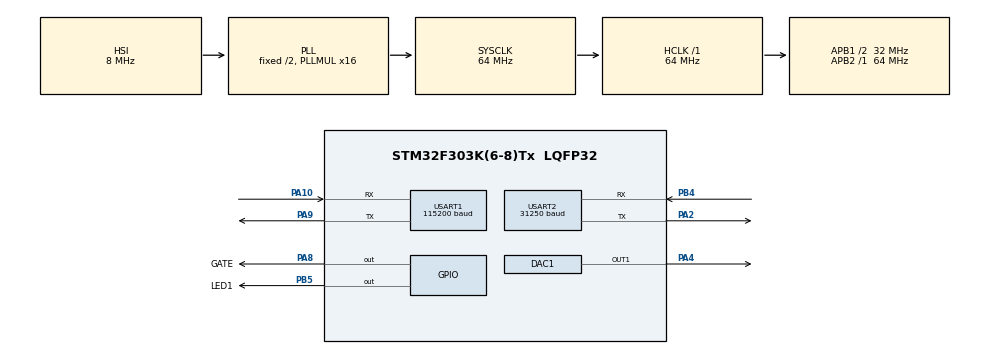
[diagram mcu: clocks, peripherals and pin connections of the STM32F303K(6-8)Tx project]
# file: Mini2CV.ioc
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DAC1.DAC_Trigger=DAC_TRIGGER_SOFTWARE
Mcu.Family=STM32F3
Mcu.Name=STM32F303K(6-8)Tx
Mcu.Package=LQFP32
NVIC.PriorityGroup=NVIC_PRIORITYGROUP_4
NVIC.USART2_IRQn=true\:0\:0\:false\:false\:true\:true\:true
PA10.Mode=Asynchronous
PA10.Signal=USART1_RX
PA2.GPIO_ModeDefaultPP=GPIO_MODE_AF_PP
PA2.GPIO_PuPd=GPIO_NOPULL
PA2.GPIO_Speed=GPIO_SPEED_FREQ_HIGH
PA2.Mode=Asynchronous
PA2.Signal=USART2_TX
PA4.Signal=COMP_DAC11_group
PA8.GPIO_Label=GATE
PA8.GPIO_ModeDefaultOutputPP=GPIO_MODE_OUTPUT_OD
PA8.GPIO_PuPd=GPIO_NOPULL
PA8.GPIO_Speed=GPIO_SPEED_FREQ_HIGH
PA8.PinState=GPIO_PIN_RESET
PA8.Signal=GPIO_Output
PA9.Mode=Asynchronous
PA9.Signal=USART1_TX
PB4.GPIO_ModeDefaultPP=GPIO_MODE_AF_PP
PB4.GPIO_PuPd=GPIO_NOPULL
PB4.GPIO_Speed=GPIO_SPEED_FREQ_HIGH
PB4.Mode=Asynchronous
PB4.Signal=USART2_RX
PB5.GPIO_Label=LED1
PB5.GPIO_ModeDefaultOutputPP=GPIO_MODE_OUTPUT_OD
PB5.GPIO_PuPd=GPIO_NOPULL
PB5.GPIO_Speed=GPIO_SPEED_FREQ_HIGH
PB5.PinState=GPIO_PIN_RESET
PB5.Signal=GPIO_Output
ProjectManager.HeapSize=0x200
ProjectManager.StackSize=0x400
ProjectManager.TargetToolchain=STM32CubeIDE
RCC.AHBFreq_Value=64000000
RCC.APB1CLKDivider=RCC_HCLK_DIV2
RCC.APB1Freq_Value=32000000
RCC.APB1TimFreq_Value=64000000
RCC.APB2Freq_Value=64000000
RCC.APB2TimFreq_Value=64000000
RCC.CortexFreq_Value=64000000
RCC.HCLKFreq_Value=64000000
RCC.HSE_VALUE=8000000
RCC.HSI_VALUE=8000000
RCC.PLLMUL=RCC_PLL_MUL16
RCC.SYSCLKFreq_VALUE=64000000
RCC.SYSCLKSourceVirtual=RCC_SYSCLKSOURCE_PLLCLK
SH.COMP_DAC11_group.0=DAC1_OUT1,DAC_OUT1
USART1.BaudRate=115200
USART1.VirtualMode-Asynchronous=VM_ASYNC
USART2.BaudRate=31250
USART2.OneBitSampling=UART_ONE_BIT_SAMPLE_DISABLE
USART2.OverSampling=UART_OVERSAMPLING_8
USART2.VirtualMode-Asynchronous=VM_ASYNC
board=custom

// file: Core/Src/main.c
/* USER CODE BEGIN Header */
/**
  ******************************************************************************
  * @file           : main.c
  * @brief          : Main program body
  ******************************************************************************
  * @attention
  *
  * <h2><center>&copy; Copyright (c) 2020 STMicroelectronics.
  * All rights reserved.</center></h2>
  *
  * This software component is licensed by ST under BSD 3-Clause license,
  * the "License"; You may not use this file except in compliance with the
  * License. You may obtain a copy of the License at:
  *                        opensource.org/licenses/BSD-3-Clause
  *
  ******************************************************************************
  */
/* USER CODE END Header */
#include "main.h"
#include "dac.h"
#include "usart.h"
#include "gpio.h"

/* USER CODE BEGIN Includes */
#include "midi.h"
#include <stdio.h>
/* USER CODE END Includes */

/* USER CODE BEGIN PV */

#define RINGBUF_SIZE 1024
char rx_ringbuf[RINGBUF_SIZE];
int rx_ringbuf_tail = 0;
int rx_ringbuf_head = 0;
int rx_dropped_count = 0;

char tx_ringbuf[RINGBUF_SIZE];
int tx_ringbuf_tail = 0;
int tx_ringbuf_head = 0;
int tx_dropped_count = 0;

/* USER CODE END PV */

void SystemClock_Config(void);

/* USER CODE BEGIN 0 */
void __io_putchar(int ch)
{
	uint8_t tx = ch & 0xff;
	HAL_UART_Transmit(&huart1, &tx, 1, 2);
}

void MIDI_IRQ()
{
	if (LL_USART_IsActiveFlag_RXNE(USART2)) {
		char tmp = LL_USART_ReceiveData8(USART2);
		int next_head = (rx_ringbuf_head + 1) % RINGBUF_SIZE;
		if (next_head != rx_ringbuf_tail) {
			rx_ringbuf[rx_ringbuf_head] = tmp;
			rx_ringbuf_head = next_head;
		} else {
			rx_dropped_count++;
		}
	}

	if (LL_USART_IsActiveFlag_TXE(USART2) && (tx_ringbuf_tail != tx_ringbuf_head)) {
		LL_USART_TransmitData8(USART2, tx_ringbuf[tx_ringbuf_tail]);
		tx_ringbuf_tail = (tx_ringbuf_tail + 1) % RINGBUF_SIZE;

		if (tx_ringbuf_tail == tx_ringbuf_head) {
			LL_USART_DisableIT_TXE(USART2);
		}
	}
}

/* USER CODE END 0 */

int main(void)
{

  /* MCU Configuration--------------------------------------------------------*/

  /* Reset of all peripherals, Initializes the Flash interface and the Systick. */
  HAL_Init();

  /* Configure the system clock */
  SystemClock_Config();

  /* Initialize all configured peripherals */
  MX_GPIO_Init();
  MX_DAC1_Init();
  MX_USART1_UART_Init();
  MX_USART2_UART_Init();
  /* USER CODE BEGIN 2 */

  LL_USART_EnableDirectionRx(USART2);
  LL_USART_EnableDirectionTx(USART2);
  LL_USART_EnableIT_RXNE(USART2);

  printf("START\n");

  HAL_GPIO_WritePin(LED1_GPIO_Port, LED1_Pin, GPIO_PIN_SET);
  HAL_Delay(250);
  HAL_GPIO_WritePin(LED1_GPIO_Port, LED1_Pin, GPIO_PIN_RESET);
  HAL_Delay(250);
  HAL_GPIO_WritePin(LED1_GPIO_Port, LED1_Pin, GPIO_PIN_SET);

  HAL_DAC_Start(&hdac1, DAC_CHANNEL_1);
  HAL_GPIO_WritePin(GATE_GPIO_Port, GATE_Pin, GPIO_PIN_RESET);
  /* USER CODE END 2 */

  /* Infinite loop */
  /* USER CODE BEGIN WHILE */
  while (1)
  {
	  if (rx_ringbuf_tail != rx_ringbuf_head) {
		  char c = rx_ringbuf[rx_ringbuf_tail];
		  rx_ringbuf_tail = (rx_ringbuf_tail + 1 ) % RINGBUF_SIZE;
		  midi_recv(c);

		  int next_head = (tx_ringbuf_head + 1) % RINGBUF_SIZE;
		  if (next_head != tx_ringbuf_tail) {
			  tx_ringbuf[tx_ringbuf_head] = c;
			  tx_ringbuf_head = next_head;

			  LL_USART_EnableIT_TXE(USART2);
		  }
	  }
    /* USER CODE END WHILE */

  }
}

void SystemClock_Config(void)
{
  RCC_OscInitTypeDef RCC_OscInitStruct = {0};
  RCC_ClkInitTypeDef RCC_ClkInitStruct = {0};
  RCC_PeriphCLKInitTypeDef PeriphClkInit = {0};

  /** Initializes the RCC Oscillators according to the specified parameters
  * in the RCC_OscInitTypeDef structure.
  */
  RCC_OscInitStruct.OscillatorType = RCC_OSCILLATORTYPE_HSI;
  RCC_OscInitStruct.HSIState = RCC_HSI_ON;
  RCC_OscInitStruct.HSICalibrationValue = RCC_HSICALIBRATION_DEFAULT;
  RCC_OscInitStruct.PLL.PLLState = RCC_PLL_ON;
  RCC_OscInitStruct.PLL.PLLSource = RCC_PLLSOURCE_HSI;
  RCC_OscInitStruct.PLL.PLLMUL = RCC_PLL_MUL16;
  if (HAL_RCC_OscConfig(&RCC_OscInitStruct) != HAL_OK)
  {
    Error_Handler();
  }
  /** Initializes the CPU, AHB and APB buses clocks
  */
  RCC_ClkInitStruct.ClockType = RCC_CLOCKTYPE_HCLK|RCC_CLOCKTYPE_SYSCLK
                              |RCC_CLOCKTYPE_PCLK1|RCC_CLOCKTYPE_PCLK2;
  RCC_ClkInitStruct.SYSCLKSource = RCC_SYSCLKSOURCE_PLLCLK;
  RCC_ClkInitStruct.AHBCLKDivider = RCC_SYSCLK_DIV1;
  RCC_ClkInitStruct.APB1CLKDivider = RCC_HCLK_DIV2;
  RCC_ClkInitStruct.APB2CLKDivider = RCC_HCLK_DIV1;

  if (HAL_RCC_ClockConfig(&RCC_ClkInitStruct, FLASH_LATENCY_2) != HAL_OK)
  {
    Error_Handler();
  }
  PeriphClkInit.PeriphClockSelection = RCC_PERIPHCLK_USART1;
  PeriphClkInit.Usart1ClockSelection = RCC_USART1CLKSOURCE_PCLK1;
  if (HAL_RCCEx_PeriphCLKConfig(&PeriphClkInit) != HAL_OK)
  {
    Error_Handler();
  }
}

void Error_Handler(void)
{
}

/************************ (C) COPYRIGHT STMicroelectronics *****END OF FILE****/
